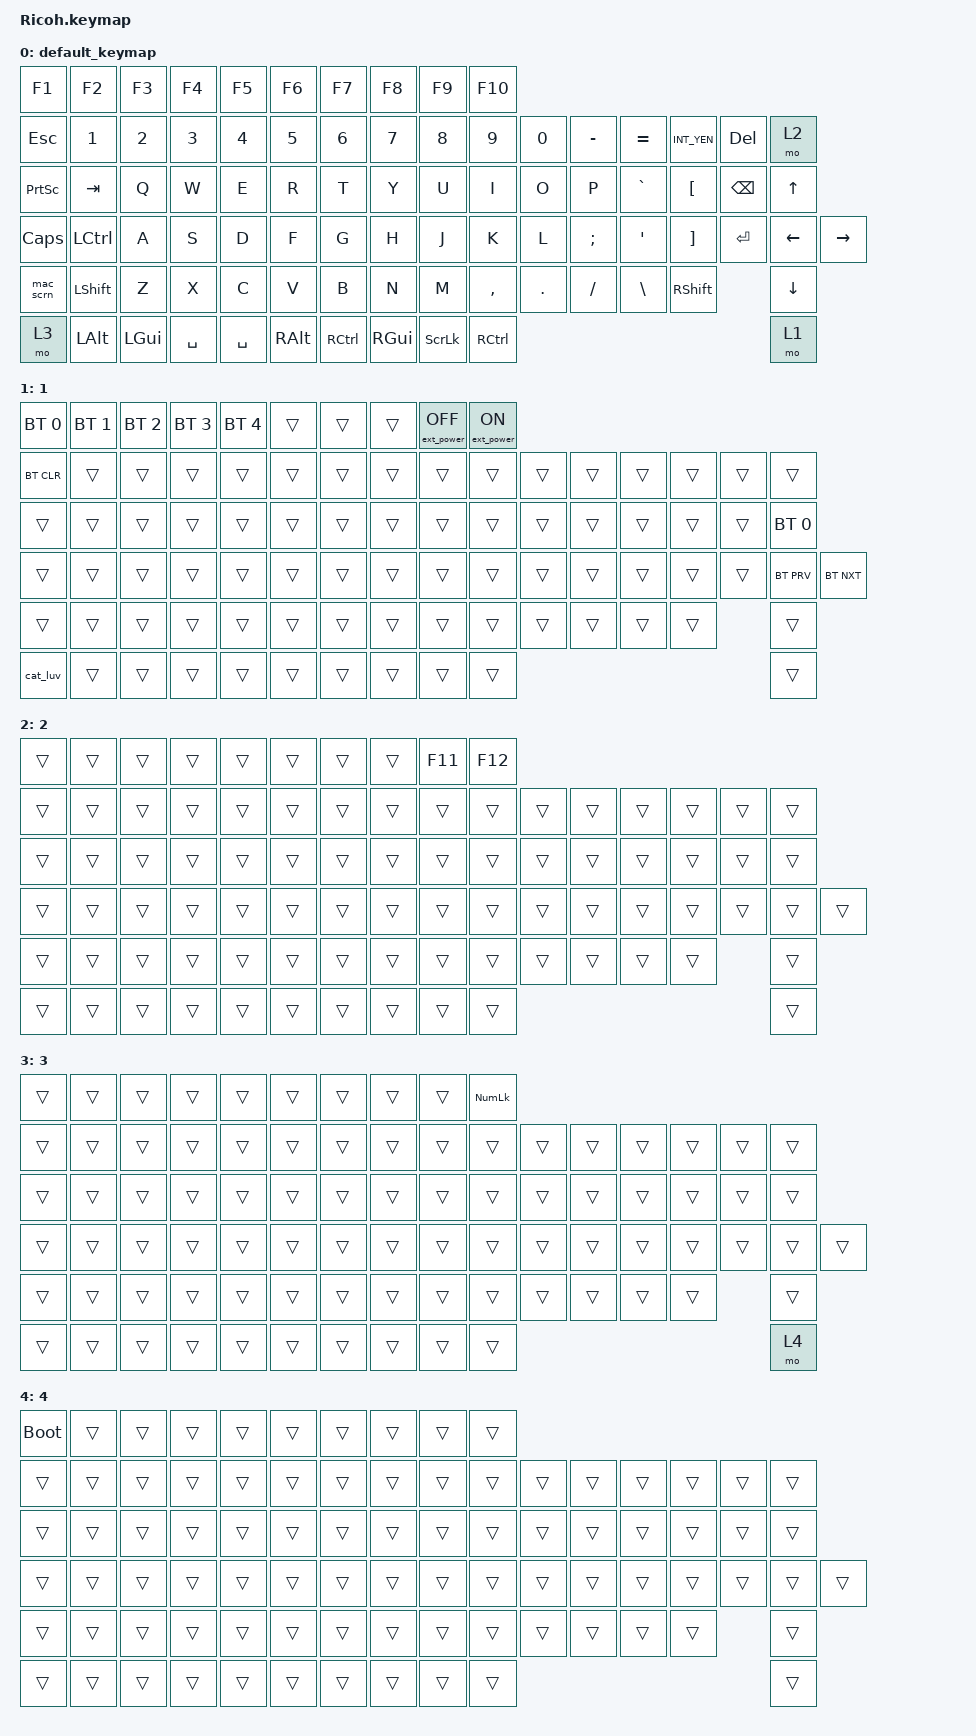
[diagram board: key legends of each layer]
#include <behaviors.dtsi>
#include <dt-bindings/zmk/keys.h>
#include <dt-bindings/zmk/bt.h>
#include <dt-bindings/zmk/ext_power.h>

/ {
    macros {
        cat_luv: cat_luv {
            label = "DISCORD_cat_luv";
            compatible = "zmk,behavior-macro";
            #binding-cells = <0>;
            wait-ms = <5>;
            bindings
                = <&macro_tap &kp COLON &kp C &kp A &kp T &kp UNDER &kp L &kp U &kp V &kp COLON>
                ;
        };
        mac_scrn: mac_scrn {
            label = "MAC_mac_scrn";
            compatible = "zmk,behavior-macro";
            #binding-cells = <0>;
            wait-ms = <5>;
            bindings
                = <&macro_press &kp LSHFT &kp LGUI>
                , <&macro_tap &kp N4>
                , <&macro_release &kp LSHFT &kp LGUI>
                ;
        };

    };

    keymap {
        compatible = "zmk,keymap";

        default_keymap {
            bindings = <
                        &kp F1      &kp F2      &kp F3      &kp F4      &kp F5      &kp F6      &kp F7      &kp F8      &kp F9      &kp F10
                        &kp ESC     &kp N1      &kp N2      &kp N3      &kp N4      &kp N5      &kp N6      &kp N7      &kp N8      &kp N9      &kp N0      &kp MINUS   &kp EQUAL   &kp INT_YEN &kp DEL             &mo 2
                        &kp PSCRN   &kp TAB     &kp Q       &kp W       &kp E       &kp R       &kp T       &kp Y       &kp U       &kp I       &kp O       &kp P       &kp GRAVE   &kp LBKT    &kp BSPC            &kp UP
                        &kp CAPS    &kp LCTRL   &kp A       &kp S       &kp D       &kp F       &kp G       &kp H       &kp J       &kp K       &kp L       &kp SEMI    &kp APOS    &kp RBKT    &kp ENTER      &kp LEFT    &kp RIGHT
                        &mac_scrn   &kp LSHFT   &kp Z       &kp X       &kp C       &kp V       &kp B       &kp N       &kp M       &kp COMMA   &kp DOT     &kp FSLH    &kp BSLH    &kp RSHFT                       &kp DOWN
                        &mo 3       &kp LALT    &kp LGUI    &kp SPACE   &kp SPACE   &kp RALT    &kp RCTRL   &kp RGUI    &kp SLCK    &kp RCTRL                                                                       &mo 1
            >;
        };
        1 {
            bindings = <
                        &bt BT_SEL 0      &bt BT_SEL 1      &bt BT_SEL 2      &bt BT_SEL 3      &bt BT_SEL 4      &trans      &trans      &trans      &ext_power EP_OFF      &ext_power EP_ON
                        &bt BT_CLR  &trans      &trans      &trans      &trans      &trans      &trans      &trans      &trans      &trans      &trans      &trans      &trans      &trans      &trans              &trans
                        &trans      &trans      &trans      &trans      &trans      &trans      &trans      &trans      &trans      &trans      &trans      &trans      &trans      &trans      &trans              &bt BT_SEL 0
                        &trans      &trans      &trans      &trans      &trans      &trans      &trans      &trans      &trans      &trans      &trans      &trans      &trans      &trans      &trans          &bt BT_PRV   &bt BT_NXT
                        &trans      &trans      &trans      &trans      &trans      &trans      &trans      &trans      &trans      &trans      &trans      &trans      &trans      &trans                          &trans
                        &cat_luv    &trans      &trans      &trans      &trans      &trans      &trans      &trans      &trans      &trans                                                                          &trans
            >;
        };
        2 {
            bindings = <
                        &trans      &trans      &trans      &trans      &trans      &trans      &trans      &trans      &kp F11     &kp F12
                        &trans      &trans      &trans      &trans      &trans      &trans      &trans      &trans      &trans      &trans      &trans      &trans      &trans      &trans      &trans              &trans
                        &trans      &trans      &trans      &trans      &trans      &trans      &trans      &trans      &trans      &trans      &trans      &trans      &trans      &trans      &trans              &trans
                        &trans      &trans      &trans      &trans      &trans      &trans      &trans      &trans      &trans      &trans      &trans      &trans      &trans      &trans      &trans         &trans       &trans
                        &trans      &trans      &trans      &trans      &trans      &trans      &trans      &trans      &trans      &trans      &trans      &trans      &trans      &trans                          &trans
                        &trans      &trans      &trans      &trans      &trans      &trans      &trans      &trans      &trans      &trans                                                                          &trans
            >;
        };
        3 {
            bindings = <
                        &trans      &trans      &trans      &trans      &trans      &trans      &trans      &trans      &trans      &kp KP_NLCK
                        &trans      &trans      &trans      &trans      &trans      &trans      &trans      &trans      &trans      &trans      &trans      &trans      &trans      &trans      &trans              &trans
                        &trans      &trans      &trans      &trans      &trans      &trans      &trans      &trans      &trans      &trans      &trans      &trans      &trans      &trans      &trans              &trans
                        &trans      &trans      &trans      &trans      &trans      &trans      &trans      &trans      &trans      &trans      &trans      &trans      &trans      &trans      &trans         &trans       &trans
                        &trans      &trans      &trans      &trans      &trans      &trans      &trans      &trans      &trans      &trans      &trans      &trans      &trans      &trans                          &trans
                        &trans      &trans      &trans      &trans      &trans      &trans      &trans      &trans      &trans      &trans                                                                          &mo 4
            >;
        };
        4 {
            bindings = <
                        &bootloader      &trans      &trans      &trans      &trans      &trans      &trans      &trans      &trans      &trans
                        &trans      &trans      &trans      &trans      &trans      &trans      &trans      &trans      &trans      &trans      &trans      &trans      &trans      &trans      &trans              &trans
                        &trans      &trans      &trans      &trans      &trans      &trans      &trans      &trans      &trans      &trans      &trans      &trans      &trans      &trans      &trans              &trans
                        &trans      &trans      &trans      &trans      &trans      &trans      &trans      &trans      &trans      &trans      &trans      &trans      &trans      &trans      &trans         &trans       &trans
                        &trans      &trans      &trans      &trans      &trans      &trans      &trans      &trans      &trans      &trans      &trans      &trans      &trans      &trans                          &trans
                        &trans      &trans      &trans      &trans      &trans      &trans      &trans      &trans      &trans      &trans                                                                          &trans
            >;
        };
    };
};
